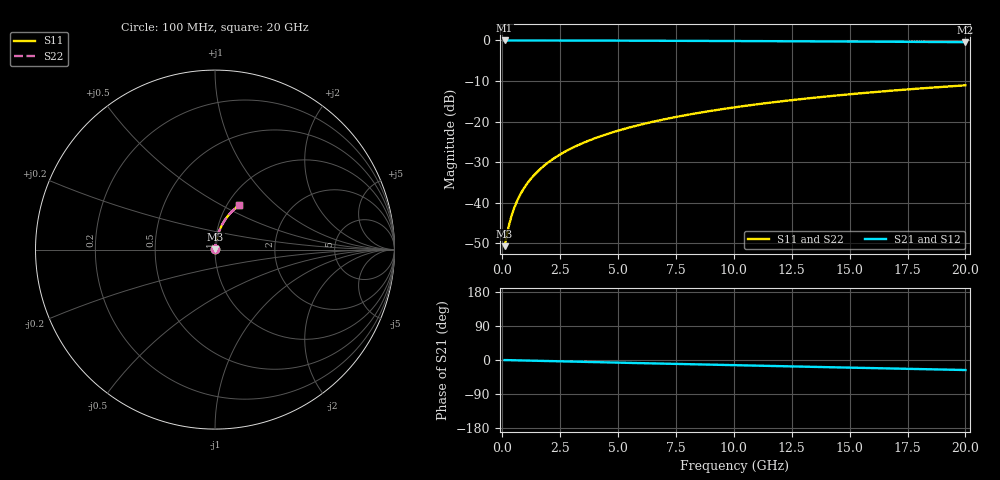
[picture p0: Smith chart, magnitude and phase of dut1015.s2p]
! Touchstone file exported from HFSS 2026.1.0
!  File:  C:/ffzhzh/LocalFiles/Ansys_Project_Files/temp_train_TMRDL_1015_1783159782_55132.aedt
!  Generated:  06:10:55 PM Jul  4, 2026
!  Design:  TMRDL
!  Project:  temp_train_TMRDL_1015_1783159782_55132
! Variables:
!  h_bsmrdl = 2um
!  h_ox = 20um
!  h_rdl = 5um
!  h_sub = 80um
!  h_tmrdl = 5.24um
!  h_tsv = 80um
!  h_via = 3um
!  l_bsmrdl = 300um
!  l_sub = 762.56um
!  l_tmrdl = 362.56um
!  m_sub = 200um
!  pitch = 33.62um
!  r_tsv = 6um
!  s_tmrdl = 10um
!  w_bsmrdl = 18um
!  w_sub = 500um
!  w_tmrdl = 10.43um
!  x_tsv_center1 = 367.775um
!  x_tsv_center2 = 685.775um
!  x_tsv_center3 = 1058.765um
!  x_tsv_center4 = 1376.765um
!  x_tsv_center5 = 1749.755um
!  x_tsv_center6 = 2067.755um
# GHz S MA R 50.000000
! Terminal data exported
! Port[1] = TM_RDL1_1_T1
! Port[2] = TM_RDL1_1_T2
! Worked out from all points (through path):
!   200 points, 100 MHz to 20 GHz, reference 50 ohm
!   highest |S21| = -0.02 dB at 100 MHz (marker M1); lowest = -0.4 dB at 20 GHz (marker M2)
!   group delay of S21, straight-line fit = 3.67 ps
!   lowest |S11| = -50.7 dB at 100 MHz (marker M3), VSWR 1.01, Z = 50.2 + j0.165 ohm
!   |S11| at or under -10 dB: start of sweep to end of sweep
!   |S22| runs from -50.7 to -11.1 dB; largest |S21 - S12| = 3.6e-15
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0.1  0.002921 34.2  0.9976 -0.1  0.9976 -0.1  0.002921 34.2
! Gamma 0 0 0 0
! Port Impedance 50 0 50 0
0.2  0.004085 52.6  0.9975 -0.3  0.9975 -0.3  0.004084 52.6
0.3  0.005453 62.2  0.9975 -0.4  0.9975 -0.4  0.005452 62.2
0.4  0.006903 67.8  0.9974 -0.6  0.9974 -0.6  0.006902 67.9
0.5  0.008395 71.5  0.9974 -0.7  0.9974 -0.7  0.008394 71.5
0.6  0.009912 74.0  0.9973 -0.9  0.9973 -0.9  0.009911 74.0
0.8  0.01299 77.1  0.9972 -1.1  0.9972 -1.1  0.01299 77.1
1.1  0.01765 79.6  0.997 -1.6  0.997 -1.6  0.01765 79.6
1.5  0.02388 81.0  0.9968 -2.1  0.9968 -2.1  0.02388 81.0
1.8  0.02855 81.5  0.9966 -2.5  0.9966 -2.5  0.02855 81.5
2.1  0.03321 81.6  0.9963 -3.0  0.9963 -3.0  0.03321 81.6
2.7  0.04248 81.6  0.9957 -3.8  0.9957 -3.8  0.04248 81.6
3.5  0.05471 81.1  0.9946 -4.9  0.9946 -4.9  0.05471 81.1
4.2  0.0653 80.4  0.9936 -5.9  0.9936 -5.9  0.0653 80.4
5  0.07728 79.5  0.9923 -7.0  0.9923 -7.0  0.07728 79.5
5.9  0.09059 78.5  0.9907 -8.2  0.9907 -8.2  0.09059 78.5
6.8  0.1037 77.5  0.9889 -9.4  0.9889 -9.4  0.1038 77.5
8.3  0.1253 75.7  0.9857 -11.4  0.9857 -11.4  0.1253 75.7
10.1  0.1507 73.5  0.9814 -13.8  0.9814 -13.8  0.1507 73.5
13.4  0.1958 69.5  0.9724 -18.1  0.9724 -18.1  0.1958 69.5
16.7  0.2388 65.5  0.962 -22.3  0.962 -22.3  0.2388 65.5
20  0.2795 61.6  0.9504 -26.4  0.9504 -26.4  0.2795 61.6
